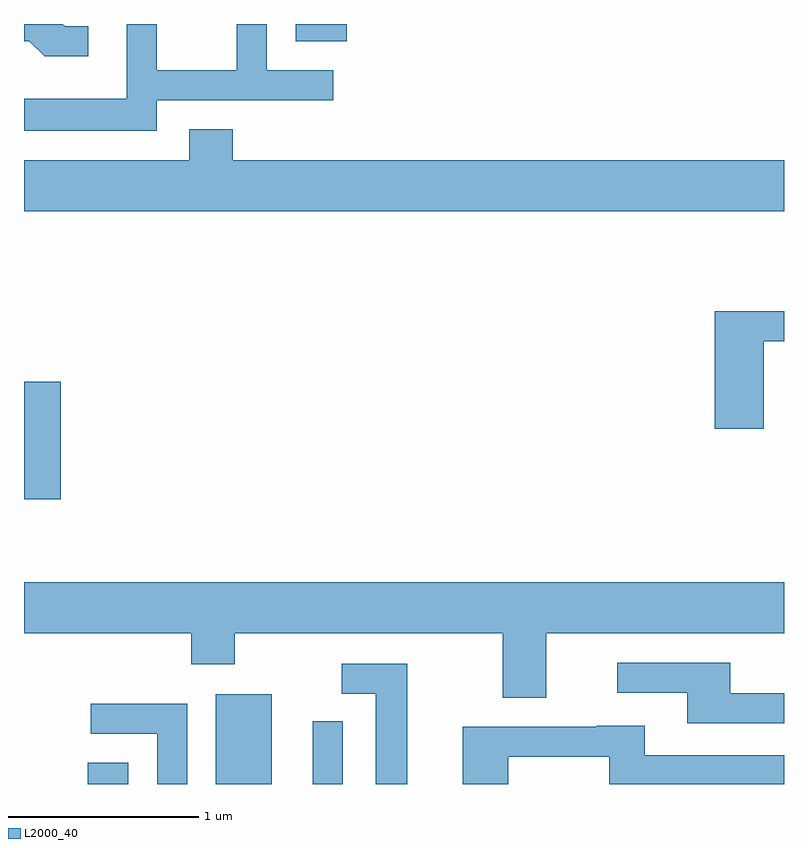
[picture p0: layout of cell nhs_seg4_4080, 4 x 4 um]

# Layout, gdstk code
import gdstk
lib = gdstk.Library(unit=1e-6, precision=1e-09)
def R(c, l, rs):  # rectangles x0, y0, x1, y1
    for r in rs: c.add(gdstk.rectangle(r[:2], r[2:], *l))
def P(c, l, *ps):  # polygons
    for p in ps: c.add(gdstk.Polygon(p, *l))
L2000_40 = (2000, 40)

nhs_seg4_4080 = lib.new_cell('nhs_seg4_4080')
R(nhs_seg4_4080, L2000_40, [(305.946,1253.982,306.159,1254.094), (306.621,1253.982,306.914,1254.454), (307.131,1253.982,307.289,1254.313), (305.611,1255.481,305.804,1256.099), (307.041,1257.891,307.309,1257.982)])
P(nhs_seg4_4080, L2000_40, [(305.948,1257.969),(305.827,1257.969),(305.814,1257.982),(305.611,1257.982),(305.611,1257.891),(305.639,1257.891),(305.719,1257.811),(305.948,1257.811)],
  [(306.309,1257.581),(307.238,1257.581),(307.238,1257.739),(306.889,1257.739),(306.889,1257.982),(306.731,1257.982),(306.731,1257.739),(306.309,1257.739),(306.309,1257.982),(306.151,1257.982),(306.151,1257.589),(305.611,1257.589),(305.611,1257.421),(306.309,1257.421)],
  [(309.611,1257.264),(306.709,1257.264),(306.709,1257.429),(306.481,1257.429),(306.481,1257.264),(305.611,1257.264),(305.611,1256.996),(309.611,1256.996)],
  [(309.504,1256.311),(309.611,1256.311),(309.611,1256.469),(309.246,1256.469),(309.246,1255.851),(309.504,1255.851)],
  [(308.359,1254.776),(309.611,1254.776),(309.611,1255.044),(305.611,1255.044),(305.611,1254.776),(306.491,1254.776),(306.491,1254.611),(306.719,1254.611),(306.719,1254.776),(308.131,1254.776),(308.131,1254.436),(308.359,1254.436)],
  [(309.611,1254.459),(309.329,1254.459),(309.329,1254.619),(308.733,1254.619),(308.733,1254.461),(309.101,1254.461),(309.101,1254.301),(309.611,1254.301)],
  [(307.629,1254.614),(307.283,1254.614),(307.283,1254.456),(307.461,1254.456),(307.461,1253.982),(307.629,1253.982)],
  [(306.469,1254.404),(305.963,1254.404),(305.963,1254.246),(306.311,1254.246),(306.311,1253.982),(306.469,1253.982)],
  [(308.159,1254.126),(308.691,1254.126),(308.691,1253.982),(309.611,1253.982),(309.611,1254.134),(308.879,1254.134),(308.879,1254.289),(308.625,1254.289),(308.625,1254.284),(307.921,1254.284),(307.921,1253.982),(308.159,1253.982)])

lib.write_gds('nhs_seg4_4080.gds')
